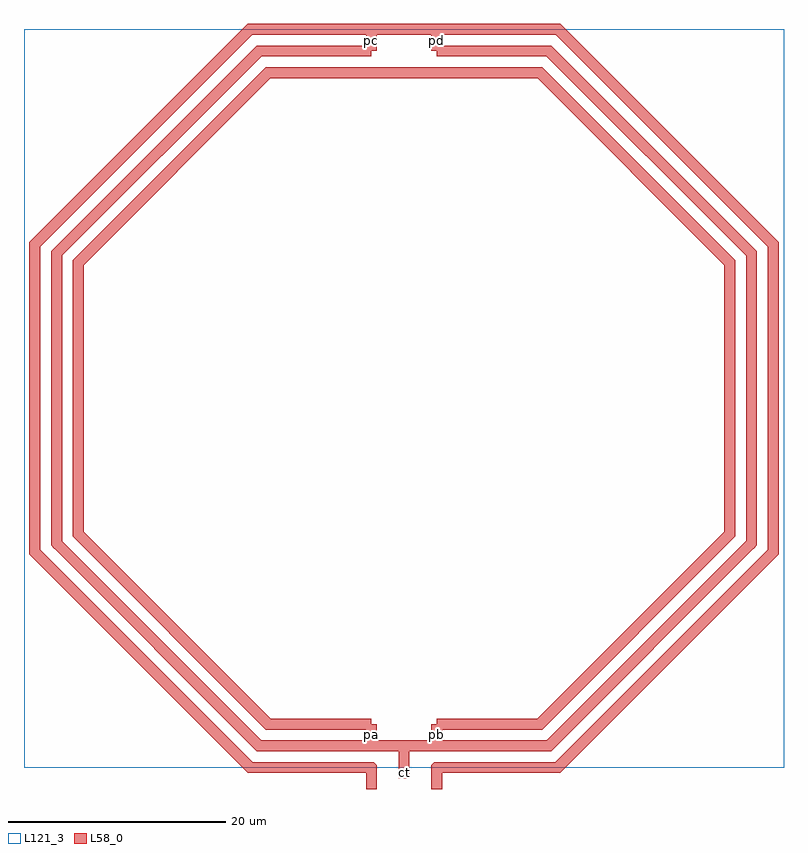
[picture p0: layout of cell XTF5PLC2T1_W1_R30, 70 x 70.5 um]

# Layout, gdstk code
import gdstk
lib = gdstk.Library(unit=1e-6, precision=1e-09)
def R(c, l, rs):  # rectangles x0, y0, x1, y1
    for r in rs: c.add(gdstk.rectangle(r[:2], r[2:], *l))
def P(c, l, *ps):  # polygons
    for p in ps: c.add(gdstk.Polygon(p, *l))
L58_0 = (58, 0)
L121_3 = (121, 3)

xtf5plc2t1_w1_r30 = lib.new_cell('XTF5PLC2T1_W1_R30')
R(xtf5plc2t1_w1_r30, L58_0, [(-3.5,-32,-2.5,-30), (2.5,-32,3.5,-30), (-3.5,32,-2.5,34), (2.5,32,3.5,34)])
P(xtf5plc2t1_w1_r30, L58_0, [(3,31.5),(3,32.5),(13.547,32.5),(13.84,32.207),(13.84,31.793),(13.547,31.5)],
  [(31.793,12.84),(12.84,31.793),(12.84,32.207),(13.133,32.5),(13.547,32.5),(32.5,13.547),(32.5,13.133),(32.207,12.84)],
  [(31.793,-13.84),(31.5,-13.547),(31.5,13.547),(31.793,13.84),(32.207,13.84),(32.5,13.547),(32.5,-13.547),(32.207,-13.84)],
  [(13.133,-32.5),(12.84,-32.207),(12.84,-31.793),(31.793,-12.84),(32.207,-12.84),(32.5,-13.133),(32.5,-13.547),(13.547,-32.5)],
  [(-13.547,-32.5),(-13.84,-32.207),(-13.84,-31.793),(-13.547,-31.5),(13.547,-31.5),(13.84,-31.793),(13.84,-32.207),(13.547,-32.5)],
  [(-13.547,-32.5),(-32.5,-13.547),(-32.5,-13.133),(-32.207,-12.84),(-31.793,-12.84),(-12.84,-31.793),(-12.84,-32.207),(-13.133,-32.5)],
  [(-32.207,-13.84),(-32.5,-13.547),(-32.5,13.547),(-32.207,13.84),(-31.793,13.84),(-31.5,13.547),(-31.5,-13.547),(-31.793,-13.84)],
  [(-32.207,12.84),(-32.5,13.133),(-32.5,13.547),(-13.547,32.5),(-13.133,32.5),(-12.84,32.207),(-12.84,31.793),(-31.793,12.84)],
  [(-13.547,31.5),(-13.84,31.793),(-13.84,32.207),(-13.547,32.5),(-3,32.5),(-3,31.5)],
  [(2.5,-36),(2.5,-33.793),(2.793,-33.5),(3.207,-33.5),(3.5,-33.793),(3.5,-36)],
  [(2.793,-34.5),(2.5,-34.207),(2.5,-33.793),(2.793,-33.5),(14.377,-33.5),(14.67,-33.793),(14.67,-34.207),(14.377,-34.5)],
  [(13.963,-34.5),(13.67,-34.207),(13.67,-33.793),(33.793,-13.67),(34.207,-13.67),(34.5,-13.963),(34.5,-14.377),(14.377,-34.5)],
  [(33.793,-14.67),(33.5,-14.377),(33.5,14.377),(33.793,14.67),(34.207,14.67),(34.5,14.377),(34.5,-14.377),(34.207,-14.67)],
  [(33.793,13.67),(13.67,33.793),(13.67,34.207),(13.963,34.5),(14.377,34.5),(34.5,14.377),(34.5,13.963),(34.207,13.67)],
  [(-14.377,33.5),(-14.67,33.793),(-14.67,34.207),(-14.377,34.5),(14.377,34.5),(14.67,34.207),(14.67,33.793),(14.377,33.5)],
  [(-34.207,13.67),(-34.5,13.963),(-34.5,14.377),(-14.377,34.5),(-13.963,34.5),(-13.67,34.207),(-13.67,33.793),(-33.793,13.67)],
  [(-34.207,-14.67),(-34.5,-14.377),(-34.5,14.377),(-34.207,14.67),(-33.793,14.67),(-33.5,14.377),(-33.5,-14.377),(-33.793,-14.67)],
  [(-14.377,-34.5),(-34.5,-14.377),(-34.5,-13.963),(-34.207,-13.67),(-33.793,-13.67),(-13.67,-33.793),(-13.67,-34.207),(-13.963,-34.5)],
  [(-14.377,-34.5),(-14.67,-34.207),(-14.67,-33.793),(-14.377,-33.5),(-2.793,-33.5),(-2.5,-33.793),(-2.5,-34.207),(-2.793,-34.5)],
  [(-3.5,-36),(-3.5,-33.793),(-3.207,-33.5),(-2.793,-33.5),(-2.5,-33.793),(-2.5,-36)],
  [(3,-30.5),(3,-29.5),(12.712,-29.5),(13.005,-29.793),(13.005,-30.207),(12.712,-30.5)],
  [(12.298,-30.5),(12.005,-30.207),(12.005,-29.793),(29.793,-12.005),(30.207,-12.005),(30.5,-12.298),(30.5,-12.712),(12.712,-30.5)],
  [(29.793,-13.005),(29.5,-12.712),(29.5,12.712),(29.793,13.005),(30.207,13.005),(30.5,12.712),(30.5,-12.712),(30.207,-13.005)],
  [(29.793,12.005),(12.005,29.793),(12.005,30.207),(12.298,30.5),(12.712,30.5),(30.5,12.712),(30.5,12.298),(30.207,12.005)],
  [(-12.712,29.5),(-13.005,29.793),(-13.005,30.207),(-12.712,30.5),(12.712,30.5),(13.005,30.207),(13.005,29.793),(12.712,29.5)],
  [(-30.207,12.005),(-30.5,12.298),(-30.5,12.712),(-12.712,30.5),(-12.298,30.5),(-12.005,30.207),(-12.005,29.793),(-29.793,12.005)],
  [(-30.207,-13.005),(-30.5,-12.712),(-30.5,12.712),(-30.207,13.005),(-29.793,13.005),(-29.5,12.712),(-29.5,-12.712),(-29.793,-13.005)],
  [(-12.712,-30.5),(-30.5,-12.712),(-30.5,-12.298),(-30.207,-12.005),(-29.793,-12.005),(-12.005,-29.793),(-12.005,-30.207),(-12.298,-30.5)],
  [(-12.712,-30.5),(-13.005,-30.207),(-13.005,-29.793),(-12.712,-29.5),(-3,-29.5),(-3,-30.5)])
R(xtf5plc2t1_w1_r30, L121_3, [(-35,-34,35,34)])
xtf5plc2t1_w1_r30.add(gdstk.FlexPath([(0,-32),(0,-35)], 1, ends="flush", simple_path=True, layer=58, datatype=0))  # L58_0
xtf5plc2t1_w1_r30.add(gdstk.Label('ct', (0,-34.5), layer=58, texttype=0))
xtf5plc2t1_w1_r30.add(gdstk.Label('pd', (3,33), layer=58, texttype=0))
xtf5plc2t1_w1_r30.add(gdstk.Label('pc', (-3,33), layer=58, texttype=0))
xtf5plc2t1_w1_r30.add(gdstk.Label('pb', (3,-31), layer=58, texttype=0))
xtf5plc2t1_w1_r30.add(gdstk.Label('pa', (-3,-31), layer=58, texttype=0))

lib.write_gds('XTF5PLC2T1_W1_R30.gds')
